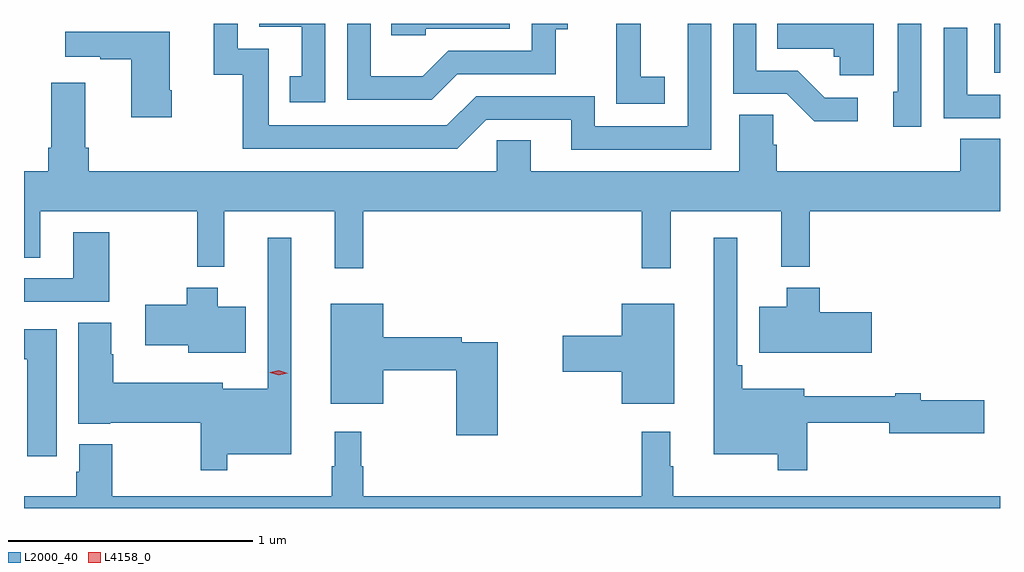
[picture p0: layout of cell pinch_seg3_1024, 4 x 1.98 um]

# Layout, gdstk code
import gdstk
lib = gdstk.Library(unit=1e-6, precision=1e-09)
def R(c, l, rs):  # rectangles x0, y0, x1, y1
    for r in rs: c.add(gdstk.rectangle(r[:2], r[2:], *l))
def P(c, l, *ps):  # polygons
    for p in ps: c.add(gdstk.Polygon(p, *l))
L2000_40 = (2000, 40)
L4158_0 = (4158, 0)

pinch_seg3_1024 = lib.new_cell('pinch_seg3_1024')
R(pinch_seg3_1024, L2000_40, [(590.459,668.183,590.483,668.384)])
P(pinch_seg3_1024, L2000_40, [(587.718,668.384),(587.448,668.384),(587.448,668.373),(587.621,668.373),(587.621,668.169),(587.572,668.169),(587.572,668.064),(587.718,668.064)],
  [(588.129,668.364),(588.474,668.364),(588.474,668.384),(587.989,668.384),(587.989,668.337),(588.129,668.337)],
  [(589.108,668.167),(589.01,668.167),(589.01,668.384),(588.911,668.384),(588.911,668.263),(588.91,668.263),(588.91,668.057),(589.108,668.057)],
  [(588.259,668.178),(588.663,668.178),(588.663,668.363),(588.712,668.363),(588.712,668.384),(588.564,668.384),(588.564,668.274),(588.222,668.274),(588.118,668.17),(587.904,668.17),(587.904,668.384),(587.808,668.384),(587.808,668.073),(588.154,668.073)],
  [(589.966,668.384),(589.57,668.384),(589.57,668.282),(589.801,668.282),(589.801,668.25),(589.827,668.25),(589.827,668.174),(589.966,668.174)],
  [(590.16,668.384),(590.064,668.384),(590.064,668.106),(590.045,668.106),(590.045,667.962),(590.16,667.962)],
  [(589.299,668.384),(589.203,668.384),(589.203,667.965),(588.822,667.965),(588.822,668.088),(588.336,668.088),(588.216,667.968),(587.487,667.968),(587.487,668.283),(587.358,668.283),(587.358,668.384),(587.261,668.384),(587.261,668.175),(587.379,668.175),(587.379,667.872),(588.258,667.872),(588.378,667.992),(588.725,667.992),(588.725,667.869),(589.299,667.869)],
  [(589.9,668.082),(589.765,668.082),(589.654,668.193),(589.485,668.193),(589.485,668.384),(589.389,668.384),(589.389,668.097),(589.608,668.097),(589.721,667.985),(589.9,667.985)],
  [(590.483,668.094),(590.349,668.094),(590.349,668.368),(590.253,668.368),(590.253,667.998),(590.483,667.998)],
  [(587.088,668.113),(587.08,668.113),(587.08,668.353),(586.653,668.353),(586.653,668.249),(586.796,668.249),(586.796,668.239),(586.922,668.239),(586.922,668.001),(587.088,668.001)],
  [(586.595,668.143),(586.595,667.876),(586.583,667.876),(586.583,667.78),(586.483,667.78),(586.483,667.426),(586.549,667.426),(586.549,667.616),(587.193,667.616),(587.193,667.388),(587.303,667.388),(587.303,667.616),(587.756,667.616),(587.756,667.383),(587.873,667.383),(587.873,667.616),(589.015,667.616),(589.015,667.383),(589.133,667.383),(589.133,667.616),(589.586,667.616),(589.586,667.388),(589.703,667.388),(589.703,667.616),(590.483,667.616),(590.483,667.913),(590.321,667.913),(590.321,667.78),(589.568,667.78),(589.568,667.889),(589.554,667.889),(589.554,668.012),(589.415,668.012),(589.415,667.78),(588.559,667.78),(588.559,667.907),(588.42,667.907),(588.42,667.78),(586.748,667.78),(586.748,667.876),(586.735,667.876),(586.735,668.143)],
  [(586.833,667.531),(586.685,667.531),(586.685,667.341),(586.483,667.341),(586.483,667.245),(586.833,667.245)],
  [(589.693,666.75),(590.03,666.75),(590.03,666.707),(590.419,666.707),(590.419,666.842),(590.158,666.842),(590.158,666.871),(590.054,666.871),(590.054,666.859),(589.681,666.859),(589.681,666.889),(589.427,666.889),(589.427,666.985),(589.407,666.985),(589.407,667.507),(589.31,667.507),(589.31,666.62),(589.572,666.62),(589.572,666.555),(589.693,666.555)],
  [(587.317,666.62),(587.578,666.62),(587.578,667.507),(587.481,667.507),(587.481,666.889),(587.298,666.889),(587.298,666.913),(586.848,666.913),(586.848,667.031),(586.84,667.031),(586.84,667.16),(586.706,667.16),(586.706,666.746),(586.836,666.746),(586.836,666.749),(587.207,666.749),(587.207,666.555),(587.317,666.555)],
  [(589.957,667.203),(589.745,667.203),(589.745,667.303),(589.61,667.303),(589.61,667.225),(589.496,667.225),(589.496,667.037),(589.957,667.037)],
  [(587.392,667.225),(587.278,667.225),(587.278,667.303),(587.149,667.303),(587.149,667.233),(586.98,667.233),(586.98,667.067),(587.156,667.067),(587.156,667.037),(587.392,667.037)],
  [(589.147,667.237),(588.932,667.237),(588.932,667.106),(588.69,667.106),(588.69,666.959),(588.932,666.959),(588.932,666.827),(589.147,666.827)],
  [(588.425,667.08),(588.278,667.08),(588.278,667.1),(587.956,667.1),(587.956,667.237),(587.741,667.237),(587.741,666.827),(587.956,666.827),(587.956,666.964),(588.254,666.964),(588.254,666.699),(588.425,666.699)],
  [(586.618,667.132),(586.483,667.132),(586.483,667.01),(586.496,667.01),(586.496,666.612),(586.618,666.612)],
  [(590.483,666.448),(589.144,666.448),(589.144,666.572),(589.132,666.572),(589.132,666.712),(589.015,666.712),(589.015,666.448),(587.873,666.448),(587.873,666.572),(587.866,666.572),(587.866,666.712),(587.756,666.712),(587.756,666.572),(587.745,666.572),(587.745,666.448),(586.845,666.448),(586.845,666.661),(586.709,666.661),(586.709,666.549),(586.697,666.549),(586.697,666.448),(586.483,666.448),(586.483,666.4),(590.483,666.4)])
P(pinch_seg3_1024, L4158_0, [(587.527,666.944),(587.492,666.955),(587.491,666.955),(587.492,666.956),(587.528,666.964),(587.563,666.953),(587.563,666.952),(587.563,666.952)])

lib.write_gds('pinch_seg3_1024.gds')
